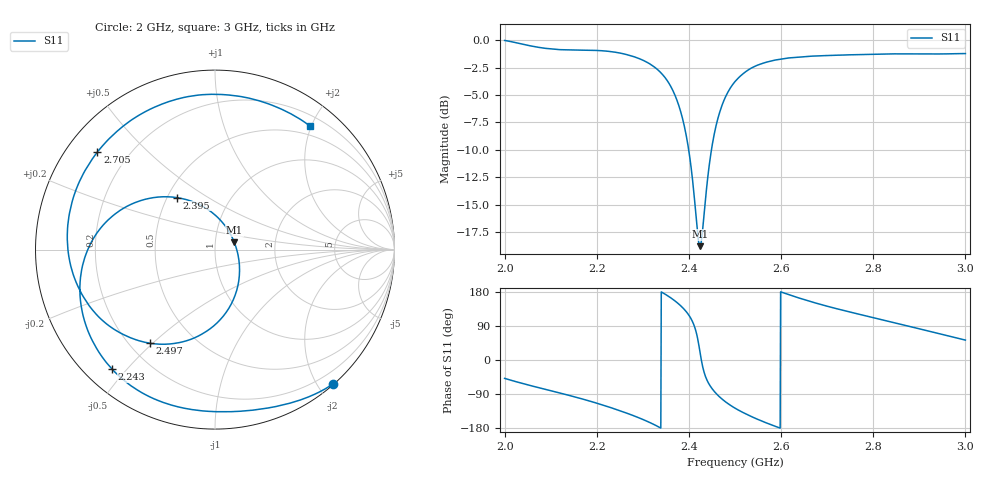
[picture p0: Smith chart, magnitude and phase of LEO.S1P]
!Agilent Technologies,E5071C,MY46104870,A.11.22
!Date: Sun Jan 01 03:08:00 2017
!Data & Calibration Information:
!Freq	S11:SOLT1(ON)
!PortZ  Port1:50+j0
!Above PortZ is port z conversion or system Z0 setting when saving the data.
!When reading, reference impedance value at option line is always used.
# Hz S dB R 50
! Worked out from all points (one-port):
!   1001 points, 2 GHz to 3 GHz, reference 50 ohm
!   lowest |S11| = -18.8 dB at 2.424 GHz (marker M1), VSWR 1.26, Z = 61.8 + j5.18 ohm
!   |S11| at or under -10 dB: 2.399 GHz to 2.449 GHz (49.41 MHz wide, 2.04 % of centre)
!   S11 on the Smith chart (normalised r, x): 2 GHz: 0.01, -2.22; 2.243 GHz: 0.08, -0.46; 2.395 GHz: 0.56, +0.37; 2.497 GHz: 0.28, -0.49; 2.705 GHz: 0.09, +0.36; 3 GHz: 0.35, +1.98
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2e9  -0.03 -48.5
2.054e9  -0.51 -66.8
2.125e9  -0.88 -88.7
2.189e9  -0.93 -109.9
2.243e9  -1.12 -130.8
2.25e9  -1.18 -133.7
2.29e9  -1.65 -151.9
2.323e9  -2.39 -169.5
2.35e9  -3.52 172.5
2.375e9  -5.59 150.8
2.395e9  -8.88 126.3
2.409e9  -13.19 97.9
2.419e9  -17.67 56.1
2.424e9  -18.78 21.1
2.429e9  -17.61 -12.9
2.44e9  -12.84 -55.2
2.457e9  -8.16 -85.7
2.476e9  -5.49 -107.2
2.497e9  -3.94 -124.9
2.5e9  -3.78 -127.1
2.558e9  -2.15 -161.1
2.625e9  -1.59 169.0
2.705e9  -1.40 140.3
2.75e9  -1.34 126.4
2.815e9  -1.27 107.5
2.875e9  -1.26 89.8
2.933e9  -1.26 72.4
3e9  -1.23 52.5
